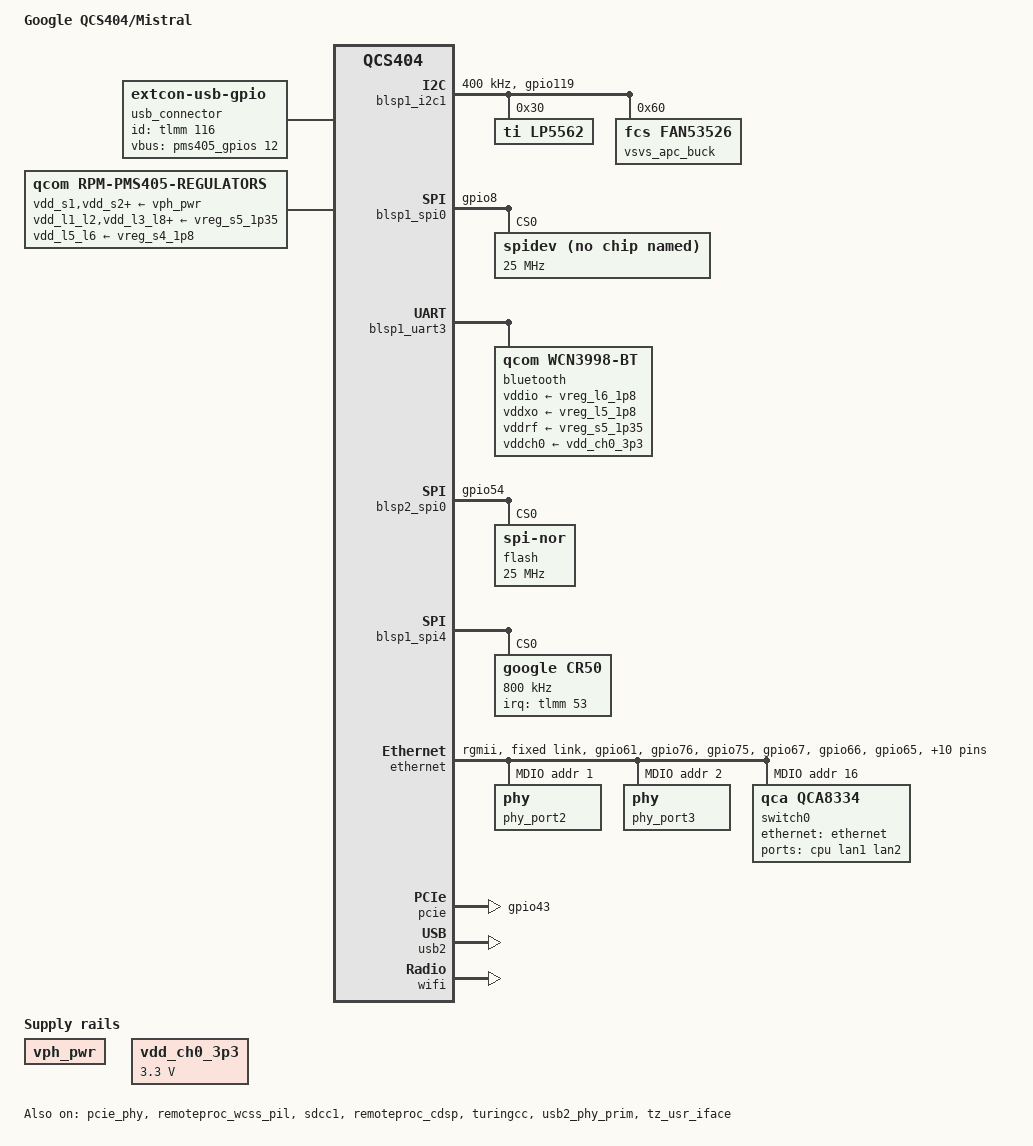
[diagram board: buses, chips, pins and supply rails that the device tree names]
// SPDX-License-Identifier: GPL-2.0
// Copyright (c) 2019, Linaro Limited

/dts-v1/;

#include "qcs404.dtsi"
#include "pms405.dtsi"
#include <dt-bindings/gpio/gpio.h>
#include <dt-bindings/pinctrl/qcom,pmic-gpio.h>

/ {
	model = "Google QCS404/Mistral";
	compatible = "google,mistral", "qcom,qcs404";

	aliases {
		serial0 = &blsp1_uart2;
		serial1 = &blsp1_uart3;
		wifi0 = &wifi;
	};

	chosen {
		stdout-path = "serial0";
	};

	usb_connector: usb-connector {
		compatible = "linux,extcon-usb-gpio";
		id-gpio = <&tlmm 116 GPIO_ACTIVE_HIGH>;
		vbus-gpio = <&pms405_gpios 12 GPIO_ACTIVE_HIGH>;
		pinctrl-names = "default";
		pinctrl-0 = <&usb0_hs_id>, <&usb_vbus_det>;
	};

	vph_pwr: vph-pwr-regulator {
		compatible = "regulator-fixed";
		regulator-name = "vph_pwr";
		regulator-always-on;
		regulator-boot-on;
	};

	vdd_ch0_3p3:
	vdd_esmps3_3p3: vdd-esmps3-3p3-regulator {
		compatible = "regulator-fixed";
		regulator-name = "eSMPS3_3P3";
		regulator-min-microvolt = <3300000>;
		regulator-max-microvolt = <3300000>;
		regulator-always-on;
	};
};

&blsp1_i2c1 {
	status = "okay";
	clock-frequency = <400000>;
	pinctrl-0 = <&led_lp5562_enable>, <&blsp1_i2c1_default>;

	lp5562@30 {
		compatible = "ti,lp5562";
		reg = <0x30>;
		clock-mode = [01];

		chan0 {
			chan-name = "LED0_Red";
			led-cur = [64];
			max-cur = [78];
		};

		chan1 {
			chan-name = "LED0_Green";
			led-cur = [64];
			max-cur = [78];
		};

		chan2 {
			chan-name = "LED0_Blue";
			led-cur = [64];
			max-cur = [78];
		};
	};

	vsvs_apc_buck: fan53526@60 {
		compatible = "fcs,fan53526";
		reg = <0x60>;
		regulator-min-microvolt = <1048000>;
		regulator-max-microvolt = <1387500>;
		regulator-ramp-delay = <500>;
		regulator-always-on;
		fcs,suspend-voltage-selector = <1>;
		pinctrl-names = "default";
		pinctrl-0 = <&apps_buck_en>, <&apps_mode_sel>;
	};
};

&blsp1_spi0 {
	status = "okay";
	pinctrl-0 = <&blsp1_spi0_default &pms405_sleepclk2_pin>;
	spidev@0 {
		compatible = "spidev";
		reg = <0>;
		spi-max-frequency = <25000000>;
	};
};

&blsp1_uart2_default {
	rx {
		drive-strength = <2>;
		bias-disable;
	};

	tx {
		drive-strength = <2>;
		bias-disable;
	};
};

&blsp1_uart3 {
	pinctrl-names = "default";
	pinctrl-0 = <&blsp1_uart3_default>;
	status = "okay";

	bluetooth: wcn3998-bt {
		compatible = "qcom,wcn3998-bt";
		vddio-supply = <&vreg_l6_1p8>;
		vddxo-supply = <&vreg_l5_1p8>;
		vddrf-supply = <&vreg_s5_1p35>;
		vddch0-supply = <&vdd_ch0_3p3>;
		max-speed = <3200000>;
	};
};

&blsp2_spi0 {
	status = "okay";
	pinctrl-0 = <&spi_flash_wp>, <&blsp2_spi0_default>;

	flash@0 {
		compatible = "jedec,spi-nor";
		reg = <0>;
		spi-max-frequency = <25000000>;
	};
};

&blsp1_spi4 {
	status = "okay";
	spi-max-frequency = <800000>; /* TODO: Drop this */
	cr50@0 {
		compatible = "google,cr50";
		reg = <0>;
		pinctrl-names = "default";
		pinctrl-0 = <&h1_ap_int_odl>;
		spi-max-frequency = <800000>;
		interrupt-parent = <&tlmm>;
		interrupts = <53 IRQ_TYPE_EDGE_RISING>;
	};
};

&cprpd {
	vdd-apc-supply = <&vsvs_apc_buck>;
};

&ethernet {
	status = "ok";

	snps,reset-gpio = <&tlmm 60 GPIO_ACTIVE_LOW>;
	snps,reset-active-low;
	snps,reset-delays-us = <0 10000 10000>;

	pinctrl-names = "default";
	pinctrl-0 = <&ethernet_defaults>;

	phy-mode = "rgmii";

	fixed-link {
		speed = <1000>;
		full-duplex;
	};

	mdio {
		#address-cells = <0x1>;
		#size-cells = <0x0>;
		compatible = "snps,dwmac-mdio";

		phy_port2: phy@1 {
			reg = <1>;
		};

		phy_port3: phy@2 {
			reg = <2>;
		};

		switch0@16 {
			compatible = "qca,qca8334";
			#address-cells = <1>;
			#size-cells = <0>;

			reg = <16>;

			ports {
				#address-cells = <1>;
				#size-cells = <0>;
				cpu_port1: port@0 {
					reg = <0>;
					label = "cpu";
					ethernet = <&ethernet>;
					phy-mode = "rgmii";
					fixed-link {
						speed = <1000>;
						full-duplex;
					};
				};

				port@2 {
					reg = <2>;
					label = "lan1";
					local-mac-address = [000000000000];
					cpu = <&cpu_port1>;
					phy-handle = <&phy_port2>;
				};

				port@3 {
					reg = <3>;
					label = "lan2";
					local-mac-address = [000000000000];
					cpu = <&cpu_port1>;
					phy-handle = <&phy_port3>;
				};
			};
		};
	};
};

&gcc {
	qcom,wcss-unprotected;
};

&pcie {
	status = "ok";

	perst-gpio = <&tlmm 43 GPIO_ACTIVE_LOW>;

	pinctrl-names = "default";
	pinctrl-0 = <&perst_state>;
};

&pcie_phy {
	status = "ok";

	vdda-vp-supply = <&vreg_l3_1p05>;
	vdda-vph-supply = <&vreg_l5_1p8>;
};

&pms405_gpios {
	apps_buck_en: apps-buck-en {
		pins = "gpio4";
		function = "normal";
		output-high;
	};

	apps_mode_sel: apps-mode-sel {
		pins = "gpio6";
		function = "normal";
		output-low;
	};

	pms405_sleepclk2_pin: pms405_sleepclk2_pin {
		pinconf {
			pins = "gpio8";
			function = PMIC_GPIO_FUNC_FUNC1;
			qcom,drive-strength = <2>;
			power-source = <0>;
			bias-disable;
			output-low;
		};
	};

	usb_vbus_det: usb-vbus-det {
		pinconf {
			pins = "gpio12";
			function = PMIC_GPIO_FUNC_NORMAL;
			input-enable;
			bias-pull-down;
			power-source = <1>;
		};
	};
};

&pms405_0{
	rtc@6000 {
		status = "disabled";
	};
};

&remoteproc_wcss_pil {
	status = "okay";
};

&rpm_requests {
	pms405-regulators {
		compatible = "qcom,rpm-pms405-regulators";

		vdd_s1-supply = <&vph_pwr>;
		vdd_s2-supply = <&vph_pwr>;
		vdd_s3-supply = <&vph_pwr>;
		vdd_s4-supply = <&vph_pwr>;
		vdd_s5-supply = <&vph_pwr>;
		vdd_l1_l2-supply = <&vreg_s5_1p35>;
		vdd_l3_l8-supply = <&vreg_s5_1p35>;
		vdd_l4-supply = <&vreg_s5_1p35>;
		vdd_l5_l6-supply = <&vreg_s4_1p8>;
		vdd_l7-supply = <&vph_pwr>;
		vdd_l9-supply = <&vreg_s5_1p35>;
		vdd_l10_l11_l12_l13-supply = <&vph_pwr>;

		vreg_s4_1p8: s4 {
			regulator-min-microvolt = <1728000>;
			regulator-max-microvolt = <1920000>;
		};

		vreg_s5_1p35: s5 {
			regulator-min-microvolt = <1352000>;
			regulator-max-microvolt = <1352000>;
			regulator-always-on;
		};

		vreg_l1_1p3: l1 {
			regulator-min-microvolt = <1240000>;
			regulator-max-microvolt = <1352000>;
		};

		vreg_l2_1p275: l2 {
			regulator-min-microvolt = <1048000>;
			regulator-max-microvolt = <1280000>;
		};

		vreg_l3_1p05: l3 {
			regulator-min-microvolt = <1048000>;
			regulator-max-microvolt = <1160000>;
			regulator-always-on;
		};

		vreg_l4_1p2: l4 {
			regulator-min-microvolt = <1144000>;
			regulator-max-microvolt = <1256000>;
			regulator-always-on;
		};

		vreg_l5_1p8: l5 {
			regulator-min-microvolt = <1800000>;
			regulator-max-microvolt = <1800000>;
			regulator-always-on;
		};

		vreg_l6_1p8: l6 {
			regulator-min-microvolt = <1800000>;
			regulator-max-microvolt = <1800000>;
			regulator-always-on;
			regulator-boot-on;
		};

		vreg_l7_1p8: l7 {
			regulator-min-microvolt = <1616000>;
			regulator-max-microvolt = <3000000>;
			regulator-boot-on;
		};

		vreg_l10_3p3: l10 {
			regulator-min-microvolt = <2936000>;
			regulator-max-microvolt = <3088000>;
			regulator-boot-on;
		};

		vreg_l12_3p3: l12 {
			regulator-min-microvolt = <2968000>;
			regulator-max-microvolt = <3300000>;
			regulator-always-on;
		};

		vreg_l13_3p3: l13 {
			regulator-min-microvolt = <3000000>;
			regulator-max-microvolt = <3300000>;
			regulator-always-on;
		};
	};
};

&sdcc1 {
	status = "ok";

	mmc-ddr-1_8v;
	mmc-hs200-1_8v;
	mmc-hs400-1_8v;
	mmc-hs400-enhanced-strobe;
	bus-width = <8>;
	non-removable;

	pinctrl-names = "default", "sleep";
	pinctrl-0 = <&sdc1_on>;
	pinctrl-1 = <&sdc1_off>;
};

&soc {
	restart@4ab000 {
		compatible = "qcom,pshold";
		reg = <0x004ab000 0x4>;
	};
};

&remoteproc_cdsp {
	compatible = "qcom,qcs404-cdsp-pil";
	status = "okay";
};

&tlmm {
	/* Add required gpio names to use gpio hog mechanism */
	gpio-line-names = "", "", "", "", "", "", "", "", "", "",
	                  "", "", "", "", "", "", "", "", "", "",
	                  "", "", "", "", "", "", "", "", "", "",
	                  "", "", "", "", "", "", "", "", "", "",
	                  "", "", "", "", "", "", "", "", "", "",
	                  "", "", "", "", "AP_FLASH_WP_L", "", "", "", "", "",
	                  "", "", "", "", "", "", "", "", "", "",
	                  "", "", "", "", "", "", "", "RECOVERY_SW_L", "", "",
	                  "", "", "", "", "", "", "", "", "", "",
	                  "", "", "", "", "", "", "", "", "", "",
	                  "", "", "", "", "", "", "", "", "", "",
	                  "", "", "", "", "", "", "", "", "", "";

	blsp1_uart3_default: blsp1-uart3-default {
		drive-strength = <2>;
		bias-disable;
	};

	ethernet_defaults: ethernet-defaults {
		int {
			pins = "gpio61";
			function = "rgmii_int";
			bias-disable;
			drive-strength = <2>;
		};
		mdc {
			pins = "gpio76";
			function = "rgmii_mdc";
			bias-pull-up;
		};
		mdio {
			pins = "gpio75";
			function = "rgmii_mdio";
			bias-pull-up;
		};
		tx {
			pins = "gpio67", "gpio66", "gpio65", "gpio64";
			function = "rgmii_tx";
			bias-pull-up;
			drive-strength = <6>;
		};
		rx {
			pins = "gpio73", "gpio72", "gpio71", "gpio70";
			function = "rgmii_rx";
			bias-disable;
			drive-strength = <2>;
		};
		tx-ctl {
			pins = "gpio68";
			function = "rgmii_ctl";
			bias-pull-up;
			drive-strength = <6>;
		};
		rx-ctl {
			pins = "gpio74";
			function = "rgmii_ctl";
			bias-disable;
			drive-strength = <2>;
		};
		tx-ck {
			pins = "gpio63";
			function = "rgmii_ck";
			bias-pull-up;
			drive-strength = <6>;
		};
		rx-ck {
			pins = "gpio69";
			function = "rgmii_ck";
			bias-disable;
			drive-strength = <2>;
		};
	};

	h1_ap_int_odl: h1-ap-int-odl {
                pinmux {
                        pins = "gpio53";
                        function = "gpio";
                        input-enable;
                };
                pinconf {
                        pins = "gpio53";
                        bias-pull-up;
                };
        };

	led_lp5562_enable: led-lp5562-enable {
		pins = "gpio119";
		function = "gpio";

		bias-pull-up;
		drive-strength = <2>;
		output-high;
	};

	perst_state: perst {
		pins = "gpio43";
		function = "gpio";

		drive-strength = <2>;
		bias-disable;
		output-low;
	};

	sdc1_on: sdc1-on {
		clk {
			pins = "sdc1_clk";
			bias-disable;
			drive-strength = <16>;
		};

		cmd {
			pins = "sdc1_cmd";
			bias-pull-up;
			drive-strength = <10>;
		};

		data {
			pins = "sdc1_data";
			bias-pull-up;
			dreive-strength = <10>;
		};

		rclk {
			pins = "sdc1_rclk";
			bias-pull-down;
		};
	};

	sdc1_off: sdc1-off {
		clk {
			pins = "sdc1_clk";
			bias-disable;
			drive-strength = <2>;
		};

		cmd {
			pins = "sdc1_cmd";
			bias-pull-up;
			drive-strength = <2>;
		};

		data {
			pins = "sdc1_data";
			bias-pull-up;
			dreive-strength = <2>;
		};

		rclk {
			pins = "sdc1_rclk";
			bias-pull-down;
		};
	};

	spi_flash_wp: spi-flash-wp {
		pins = "gpio54";
		function = "gpio";
		bias-disable;
		bias-no-pull;
		drive-strength = <2>;
		input-enable;
	};

	usb0_hs_id: usb0-hs-id {
		pinmux {
			pins = "gpio116";
			function = "gpio";
		};

		pinconf {
			pins = "gpio116";
			drive-strength = <2>;
			bias-pull-up;
			input-enable;
		};
	};
};

&turingcc {
	status = "okay";
};

&usb2 {
	status = "okay";
	extcon = <&usb_connector>;

	dwc3@78c0000 {
		extcon = <&usb_connector>;
		dr_mode = "otg";
	};
};

&usb2_phy_prim {
	vdd-supply = <&vreg_l4_1p2>;
	vdda1p8-supply = <&vreg_l5_1p8>;
	vdda3p3-supply = <&vreg_l12_3p3>;
	qcom,vdd-voltage-level = <0 1144000 1200000>;
	status = "okay";
};

&wifi {
	status = "okay";
	vdd-0.8-cx-mx-supply = <&vreg_l2_1p275>;
	vdd-1.8-xo-supply = <&vreg_l5_1p8>;
	vdd-1.3-rfa-supply = <&vreg_l1_1p3>;
};

&tz_usr_iface {
	status = "ok";
/*
	qcom,panic-on-xpu-violation;
*/
};

/* PINCTRL - board-specific pinctrl */
&blsp2_spi0_default {
	mosi {
		pins = "gpio26";
		bias-disable;
		drive-strength = <6>;
	};

	miso {
		pins = "gpio27";
		bias-disable;
		drive-strength = <2>;
	};

	clk {
		pins = "gpio29";
		bias-disable;
		drive-strength = <6>;
	};

	cs {
		pins = "gpio28";
		bias-disable;
		drive-strength = <6>;
	};
};
